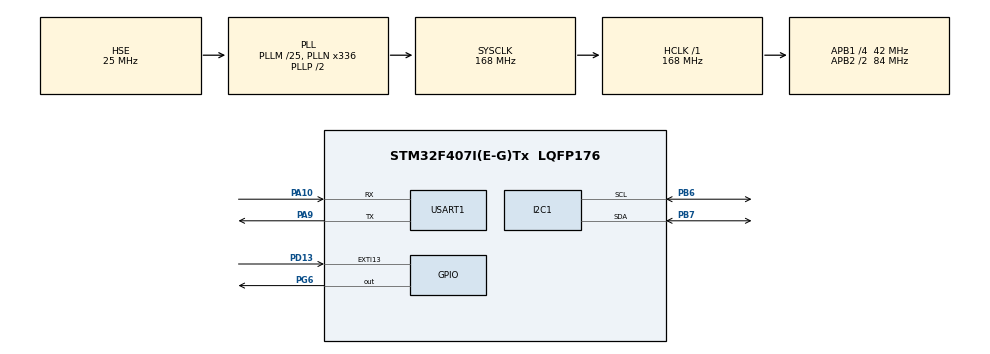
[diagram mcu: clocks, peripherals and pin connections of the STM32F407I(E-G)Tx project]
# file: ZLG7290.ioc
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I2C1.DualAddressMode=I2C_DUALADDRESS_DISABLED
I2C1.GeneralCallMode=I2C_GENERALCALL_ENABLED
Mcu.Family=STM32F4
Mcu.Name=STM32F407I(E-G)Tx
Mcu.Package=LQFP176
NVIC.EXTI15_10_IRQn=true\:0\:0\:false
NVIC.PriorityGroup=NVIC_PRIORITYGROUP_4
NVIC.USART1_IRQn=true\:0\:0\:false
PA10.Mode=Asynchronous
PA10.Signal=USART1_RX
PA9.Mode=Asynchronous
PA9.Signal=USART1_TX
PB6.Mode=I2C
PB6.Signal=I2C1_SCL
PB7.Mode=I2C
PB7.Signal=I2C1_SDA
PD13.GPIO_ModeDefaultEXTI=GPIO_MODE_IT_FALLING
PD13.GPIO_PuPd=GPIO_NOPULL
PD13.Signal=GPXTI13
PG6.Signal=GPIO_Output
PH0-OSC_IN.Mode=HSE-External-Oscillator
PH0-OSC_IN.Signal=RCC_OSC_IN
PH1-OSC_OUT.Mode=HSE-External-Oscillator
PH1-OSC_OUT.Signal=RCC_OSC_OUT
ProjectManager.HeapSize=0x200
ProjectManager.StackSize=0x400
ProjectManager.TargetToolchain=MDK-ARM V5
RCC.48MHZClocksFreq_Value=84000000
RCC.AHBFreq_Value=168000000
RCC.APB1CLKDivider=RCC_HCLK_DIV4
RCC.APB1Freq_Value=42000000
RCC.APB1TimFreq_Value=84000000
RCC.APB2CLKDivider=RCC_HCLK_DIV2
RCC.APB2Freq_Value=84000000
RCC.APB2TimFreq_Value=168000000
RCC.CortexFreq_Value=168000000
RCC.HCLKFreq_Value=168000000
RCC.HSE_VALUE=25000000
RCC.HSI_VALUE=16000000
RCC.LSE_VALUE=32768
RCC.PLLM=25
RCC.PLLN=336
RCC.PLLSourceVirtual=RCC_PLLSOURCE_HSE
RCC.SYSCLKFreq_VALUE=168000000
RCC.SYSCLKSource=RCC_SYSCLKSOURCE_PLLCLK
RCC.VCOOutputFreq_Value=336000000
USART1.VirtualMode=VM_ASYNC
board=ZLG7290

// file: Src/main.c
/**
 ******************************************************************************
 * File Name          : main.c
 * Description        : Main program body
 ******************************************************************************
 *
 * COPYRIGHT(c) 2024 STMicroelectronics
 *
 * Redistribution and use in source and binary forms, with or without modification,
 * are permitted provided that the following conditions are met:
 *   1. Redistributions of source code must retain the above copyright notice,
 *      this list of conditions and the following disclaimer.
 *   2. Redistributions in binary form must reproduce the above copyright notice,
 *      this list of conditions and the following disclaimer in the documentation
 *      and/or other materials provided with the distribution.
 *   3. Neither the name of STMicroelectronics nor the names of its contributors
 *      may be used to endorse or promote products derived from this software
 *      without specific prior written permission.
 *
 * THIS SOFTWARE IS PROVIDED BY THE COPYRIGHT HOLDERS AND CONTRIBUTORS "AS IS"
 * AND ANY EXPRESS OR IMPLIED WARRANTIES, INCLUDING, BUT NOT LIMITED TO, THE
 * IMPLIED WARRANTIES OF MERCHANTABILITY AND FITNESS FOR A PARTICULAR PURPOSE ARE
 * DISCLAIMED. IN NO EVENT SHALL THE COPYRIGHT HOLDER OR CONTRIBUTORS BE LIABLE
 * FOR ANY DIRECT, INDIRECT, INCIDENTAL, SPECIAL, EXEMPLARY, OR CONSEQUENTIAL
 * DAMAGES (INCLUDING, BUT NOT LIMITED TO, PROCUREMENT OF SUBSTITUTE GOODS OR
 * SERVICES; LOSS OF USE, DATA, OR PROFITS; OR BUSINESS INTERRUPTION) HOWEVER
 * CAUSED AND ON ANY THEORY OF LIABILITY, WHETHER IN CONTRACT, STRICT LIABILITY,
 * OR TORT (INCLUDING NEGLIGENCE OR OTHERWISE) ARISING IN ANY WAY OUT OF THE USE
 * OF THIS SOFTWARE, EVEN IF ADVISED OF THE POSSIBILITY OF SUCH DAMAGE.
 *
 ******************************************************************************
 */
#include "stm32f4xx_hal.h"
#include "i2c.h"
#include "usart.h"
#include "gpio.h"
#include "stm32f4xx_hal_iwdg.h"
/* USER CODE BEGIN Includes */
#include "zlg7290.h"
#include "stdio.h"
/* USER CODE END Includes */

/* USER CODE BEGIN PV */
/* Private variables ---------------------------------------------------------*/
#define UINT8_CHECK 0xFF
#define UINT32_CHECK 0xFFFFFFFF
#define ZLG_WRITE_ADDRESS 0x10
#define INF 99999999
#define RESET() HAL_NVIC_SystemReset()
#define Random_Delay(x) HAL_Delay(rand() % x)
#define IWDG_FEED() HAL_IWDG_Refresh(&IWDG_Handler)
#define Calc_update() variable_backup_update(&calc_bkp1, &calc_bkp2, &calc_bkp3, calc)
#define Len_update() variable_backup_update(&len_bkp1, &len_bkp2, &len_bkp3, len)
#define Flag2_update() variable_backup_update(&flag2_bkp1, &flag2_bkp2, &flag2_bkp3, flag2)
// 0~D对应0~D, EF分别为 * 和 #
uint8_t input2sign[0x1D] = {0x10, 0xd, 0xf, 0x0, 0xe, 0x10, 0x10, 0x10, 0x10, 0xc, 0x9, 0x8, 0x7, 0x10, 0x10, 0x10, 0x10, 0xb, 0x6, 0x5, 0x4, 0x10, 0x10, 0x10, 0x10, 0xa, 0x3, 0x2, 0x1};
// 输出对应字节 0123456789
uint8_t output_char[0xa] = {0xFC, 0x0C, 0xDA, 0xF2, 0x66, 0xB6, 0xBE, 0xE0, 0xFE, 0xE6};

uint32_t input_int[2] = {0};
uint8_t len = 0, calc = 0;
uint8_t flag2 = 0;
uint8_t Rx_Buffer[8] = {0};

struct backup_32
{
	uint32_t data[2];
	uint32_t checksum;
};

struct backup_8
{
	uint8_t data[1];
	uint8_t checksum;
};

struct backup_8_arr
{
	uint8_t data[8];
	uint8_t checksum;
};

__attribute__((section(".uninit"), zero_init)) uint8_t input2sign_bkp1[0x1D];
__attribute__((section(".uninit"), zero_init)) uint8_t input2sign_bkp1_checksum;
__attribute__((section(".uninit"), zero_init)) uint8_t output_char_bkp1[0xa];
__attribute__((section(".uninit"), zero_init)) uint8_t output_char_bkp1_checksum;
__attribute__((section(".uninit"), zero_init)) struct backup_32 input_int_bkp1;
__attribute__((section(".uninit"), zero_init)) struct backup_8 len_bkp1;
__attribute__((section(".uninit"), zero_init)) struct backup_8 calc_bkp1;
__attribute__((section(".uninit"), zero_init)) struct backup_8 flag2_bkp1;
__attribute__((section(".uninit"), zero_init)) struct backup_8_arr Rx_Buffer_bkp1;

__attribute__((section(".uninit"), zero_init)) uint8_t input2sign_bkp2[0x1D];
__attribute__((section(".uninit"), zero_init)) uint8_t input2sign_bkp2_checksum;
__attribute__((section(".uninit"), zero_init)) uint8_t output_char_bkp2[0xa];
__attribute__((section(".uninit"), zero_init)) uint8_t output_char_bkp2_checksum;
__attribute__((section(".uninit"), zero_init)) struct backup_32 input_int_bkp2;
__attribute__((section(".uninit"), zero_init)) struct backup_8 len_bkp2;
__attribute__((section(".uninit"), zero_init)) struct backup_8 calc_bkp2;
__attribute__((section(".uninit"), zero_init)) struct backup_8 flag2_bkp2;
__attribute__((section(".uninit"), zero_init)) struct backup_8_arr Rx_Buffer_bkp2;

__attribute__((section(".uninit"), zero_init)) uint8_t input2sign_bkp3[0x1D];
__attribute__((section(".uninit"), zero_init)) uint8_t input2sign_bkp3_checksum;
__attribute__((section(".uninit"), zero_init)) uint8_t output_char_bkp3[0xa];
__attribute__((section(".uninit"), zero_init)) uint8_t output_char_bkp3_checksum;
__attribute__((section(".uninit"), zero_init)) struct backup_32 input_int_bkp3;
__attribute__((section(".uninit"), zero_init)) struct backup_8 len_bkp3;
__attribute__((section(".uninit"), zero_init)) struct backup_8 calc_bkp3;
__attribute__((section(".uninit"), zero_init)) struct backup_8 flag2_bkp3;
__attribute__((section(".uninit"), zero_init)) struct backup_8_arr Rx_Buffer_bkp3;

__attribute__((section(".uninit"), zero_init)) uint32_t sign;

uint8_t flag1 = 0, order = 0;
uint32_t last_input_time = 0, last_free_time = 0;

// uint8_t len __attribute__(());

IWDG_HandleTypeDef IWDG_Handler;
/* USER CODE END PV */

void SystemClock_Config(void);

/* USER CODE BEGIN PFP */
/* Private function prototypes -----------------------------------------------*/

/* USER CODE END PFP */

/* USER CODE BEGIN 0 */
uint8_t Safe_Read(void);
void Receive_Number(uint8_t input);
void Clear_Display(void);
void Receive_Calculating(uint8_t input);
void Result_Handle(void);
void IWDG_Init(uint8_t prer, uint16_t rlr);
uint8_t check_uint8_array(uint8_t *arr, uint8_t len, uint8_t checksum, uint8_t type);
uint32_t check_uint32_array(uint32_t *arr, uint32_t checksum, uint8_t type);
void static_backup_init();
void backup_init();
void uint8_array_copy(uint8_t *dest, uint8_t *src, uint8_t len);
void uint32_array_copy(uint32_t *dest, uint32_t *src, uint8_t len);
void variable_backup_update(struct backup_8 *bkp1, struct backup_8 *bkp2, struct backup_8 *bkp3, uint8_t data);
void Rx_update();
void input_int_update();
void generate_random_uint8_array(uint8_t *arr, uint8_t len);
void uint8_array_backup_check(uint8_t flag);
void uint8_backup_check(struct backup_8 *bkp1, struct backup_8 *bkp2, struct backup_8 *bkp3, uint8_t flag);
void input_int_backup_update();
void backup_check();
/* USER CODE END 0 */

int main(void)
{

	/* MCU Configuration----------------------------------------------------------*/

	/* Reset of all peripherals, Initializes the Flash interface and the Systick. */
	HAL_Init();

	/* Configure the system clock */
	SystemClock_Config();
	IWDG_Init(1, 3000);
	/* Initialize all configured peripherals */
	MX_GPIO_Init();
	SystemClock_Config();
	MX_I2C1_Init();
	MX_USART1_UART_Init();

	/* USER CODE BEGIN 2 */
	uint8_t input;
	if (sign == 302141191) // 热启动
	{
		backup_check();
		sign = 302141191;
	}
	else // 冷启动
	{
		HAL_Delay(200);
		static_backup_init();
		backup_init();
		sign = 302141191;
	}
	/* USER CODE END 2 */
	/* Infinite loop */
	while (1)
	{
		/* USER CODE BEGIN 3 */
		if (flag1 == 1)
		{
			// for(i=0;i<8;i++){
			// HAL_GPIO_WritePin(GPIOG,GPIO_PIN_6,GPIO_PIN_SET);
			// HAL_Delay(4);
			// HAL_GPIO_WritePin(GPIOG,GPIO_PIN_6,GPIO_PIN_RESET);
			// HAL_Delay(4);
			//}
			IWDG_FEED();
			flag1 = 0;
			input = Safe_Read();
			last_input_time = HAL_GetTick();
			if (last_input_time - last_free_time > 10000) // 连续输入10s以上，重启
			{
				sign = 0;
				RESET();
			}
			Random_Delay(10);

			if (input > 0x1C || input == 0x0) // 输入不合法
				continue;
			input = input2sign[input]; // 转换为符号
			Random_Delay(10);
			if (input == 0x10)
				continue;
			// printf("%#x\t", input);

			if (input == 0xf || flag2 >= 2) // 接受到清除键或者运算完成
				Clear_Display();
			else if (input <= 0x9) // 接受到数字
				Receive_Number(input);
			else if (input < 0xe) // 接受到运算符
				Receive_Calculating(input);
			else
				Result_Handle();
		}
		else
		{
			last_free_time = HAL_GetTick();
			uint32_t time_diff = last_free_time - last_input_time;

			if (time_diff == 10000)
				Clear_Display();
			if (time_diff % 400 == 0) // 400ms刷新一次数码管并喂狗
			{
				IWDG_FEED();
				backup_check();
				I2C_ZLG7290_Write(&hi2c1, 0x70, ZLG_WRITE_ADDRESS, Rx_Buffer, 8);
			}
			HAL_PWR_EnterSLEEPMode(PWR_LOWPOWERREGULATOR_ON, PWR_SLEEPENTRY_WFI);
		}
	}
}
/* USER CODE END 3 */

/** System Clock Configuration
 */
void SystemClock_Config(void)
{

	RCC_OscInitTypeDef RCC_OscInitStruct;
	RCC_ClkInitTypeDef RCC_ClkInitStruct;

	__PWR_CLK_ENABLE();

	__HAL_PWR_VOLTAGESCALING_CONFIG(PWR_REGULATOR_VOLTAGE_SCALE1);

	RCC_OscInitStruct.OscillatorType = RCC_OSCILLATORTYPE_HSE;
	RCC_OscInitStruct.HSEState = RCC_HSE_ON;
	RCC_OscInitStruct.PLL.PLLState = RCC_PLL_ON;
	RCC_OscInitStruct.PLL.PLLSource = RCC_PLLSOURCE_HSE;
	RCC_OscInitStruct.PLL.PLLM = 25;
	RCC_OscInitStruct.PLL.PLLN = 336;
	RCC_OscInitStruct.PLL.PLLP = RCC_PLLP_DIV2;
	RCC_OscInitStruct.PLL.PLLQ = 4;
	HAL_RCC_OscConfig(&RCC_OscInitStruct);

	RCC_ClkInitStruct.ClockType = RCC_CLOCKTYPE_SYSCLK | RCC_CLOCKTYPE_PCLK1 | RCC_CLOCKTYPE_PCLK2;
	RCC_ClkInitStruct.SYSCLKSource = RCC_SYSCLKSOURCE_PLLCLK;
	RCC_ClkInitStruct.AHBCLKDivider = RCC_SYSCLK_DIV1;
	RCC_ClkInitStruct.APB1CLKDivider = RCC_HCLK_DIV4;
	RCC_ClkInitStruct.APB2CLKDivider = RCC_HCLK_DIV2;
	HAL_RCC_ClockConfig(&RCC_ClkInitStruct, FLASH_LATENCY_5);

	HAL_SYSTICK_Config(HAL_RCC_GetHCLKFreq() / 1000);

	HAL_SYSTICK_CLKSourceConfig(SYSTICK_CLKSOURCE_HCLK);

	/* SysTick_IRQn interrupt configuration */
	HAL_NVIC_SetPriority(SysTick_IRQn, 0, 0);
}

/* USER CODE BEGIN 4 */
// 安全读取
uint8_t Safe_Read()
{
	if (!order)
		RESET();
	uint8_t tmp1 = 0, tmp2 = 0, tmp3 = 0;
	I2C_ZLG7290_Read(&hi2c1, 0x71, 0x01, &tmp1, 1);
	I2C_ZLG7290_Read(&hi2c1, 0x71, 0x01, &tmp2, 1);
	I2C_ZLG7290_Read(&hi2c1, 0x71, 0x01, &tmp3, 1);
	if (tmp1 == tmp2 || tmp2 == tmp3 || tmp1 == tmp3)
	{
		order = 1;
		if (tmp1 == tmp2)
			return tmp1;
		return tmp3;
	}
	return 0;
}
// 状态还原
void Clear_Display()
{
	input_int[0] = input_int[1] = 0;
	flag2 = 0;
	len = 0;
	order = 0;
	memset(Rx_Buffer, 0, 8);
	backup_init();
	I2C_ZLG7290_Write(&hi2c1, 0x70, ZLG_WRITE_ADDRESS, Rx_Buffer, 8); // 清除显示
}
// 接收到数字
void Receive_Number(uint8_t input)
{
	if (order != 1)
		RESET();
	if (len < 8 && flag2 < 2) // 输入未满
	{
		input_int[flag2] = (input_int[flag2] << 3) + (input_int[flag2] << 1) + input; // 保存数字
		input = output_char[input];
		Rx_Buffer[len] = input;
		len += 1;
		Random_Delay(5);
		I2C_ZLG7290_Write(&hi2c1, 0x70, ZLG_WRITE_ADDRESS + len, Rx_Buffer, len);
		input_int_update();
		Rx_update();
		Len_update();
	}
	order = 0;
}
// 接收到运算符
void Receive_Calculating(uint8_t input)
{
	if (order != 1)
		RESET();
	if (flag2 == 0) // 接受到运算符且参数未满
	{
		calc = input; // 保存运算符
		Calc_update();
		memset(Rx_Buffer, 0, 8);
		Rx_update();
		I2C_ZLG7290_Write(&hi2c1, 0x70, ZLG_WRITE_ADDRESS, Rx_Buffer, 8);
		Random_Delay(5);
		len = 0;
		flag2 = 1;
		Len_update();
		Flag2_update();
	}
	order = 0;
}
// 结果处理
void Result_Handle()
{
	if (order != 1)
		RESET();
	if (flag2 == 1) // 运算符和参数已满
	{
		flag2 = 2;
		Flag2_update();
		uint32_t result1, result2;
		switch (calc)
		{
		case 0xa:
			result1 = input_int[0] + input_int[1]; // 加法
			result2 = input_int[0] + input_int[1];
			flag2 += input_int[0] <= INF; // 结果是否超出范围
			break;
		case 0xb:
			flag2 += input_int[0] >= input_int[1];
			result1 = input_int[0] - input_int[1]; // 减法
			result2 = input_int[0] - input_int[1];
			break;
		case 0xc:
			flag2 += INF / input_int[1] > input_int[0];
			result1 = input_int[0] * input_int[1]; // 乘法
			result2 = input_int[0] * input_int[1];
			break;
		case 0xd:
			flag2 += input_int[1] != 0;
			result1 = input_int[0] / input_int[1]; // 除法
			result2 = input_int[0] / input_int[1];
			break;
		}
		Flag2_update();
		Random_Delay(5);
		if (result1 != result2)
		{
			sign = 0;
			RESET();
		}
		if (flag2 == 3) // 结果合法
		{
			uint8_t i;
			len = 0;
			// 结果转化为字节
			for (i = 0; result != 0; i++)
			{
				Rx_Buffer[i] = output_char[result % 10];
				result /= 10;
				len++;
			}
			// 结果反转
			for (i = 0; i < len - i - 1; i++)
			{
				Rx_Buffer[i] ^= Rx_Buffer[len - i - 1];
				Rx_Buffer[len - i - 1] ^= Rx_Buffer[i];
				Rx_Buffer[i] ^= Rx_Buffer[len - i - 1];
			}
			Rx_update();
			I2C_ZLG7290_Write(&hi2c1, 0x70, ZLG_WRITE_ADDRESS, Rx_Buffer, 8);
		}
		else // 结果不合法
		{
			Clear_Display();
		}
	}
	order = 0;
}

void HAL_GPIO_EXTI_Callback(uint16_t GPIO_Pin)
{
	flag1 = 1;
}
int fputc(int ch, FILE *f)
{
	uint8_t tmp[1] = {0};
	tmp[0] = (uint8_t)ch;
	HAL_UART_Transmit(&huart1, tmp, 1, 10);
	return ch;
}
// 初始化看门狗
void IWDG_Init(uint8_t prer, uint16_t rlr)
{
	IWDG_Handler.Instance = IWDG;
	IWDG_Handler.Init.Prescaler = prer;
	IWDG_Handler.Init.Reload = rlr;
	HAL_IWDG_Init(&IWDG_Handler);
	HAL_IWDG_Start(&IWDG_Handler);
}
// 静态备份初始化
void static_backup_init()
{
	uint8_t i = rand() & 1;
	if (i == 0)
	{
		uint8_array_copy(input2sign_bkp1, input2sign, 0x1D);
		input2sign_bkp1_checksum = check_uint8_array(input2sign_bkp1, 0x1D, 0, 0);
		uint8_array_copy(input2sign_bkp2, input2sign, 0x1D);
		input2sign_bkp2_checksum = check_uint8_array(input2sign_bkp2, 0x1D, 0, 0);
		uint8_array_copy(input2sign_bkp3, input2sign, 0x1D);
		input2sign_bkp3_checksum = check_uint8_array(input2sign_bkp3, 0x1D, 0, 0);
	}
	else
	{
		uint8_array_copy(output_char_bkp1, output_char, 0xa);
		output_char_bkp1_checksum = check_uint8_array(output_char_bkp1, 0xa, 0, 0);
		uint8_array_copy(output_char_bkp2, output_char, 0xa);
		output_char_bkp2_checksum = check_uint8_array(output_char_bkp2, 0xa, 0, 0);
		uint8_array_copy(output_char_bkp3, output_char, 0xa);
		output_char_bkp3_checksum = check_uint8_array(output_char_bkp3, 0xa, 0, 0);
	}
}
// uint8_t备份更新
void variable_backup_update(struct backup_8 *bkp1, struct backup_8 *bkp2, struct backup_8 *bkp3, uint8_t data)
{
	uint8_t i, order[3];
	generate_random_uint8_array(order, 3);
	for (i = 0; i < 3; i++)
	{
		switch (order[i])
		{
		case 0:
			bkp1->data[0] = data;
			bkp1->checksum = check_uint8_array(bkp1->data, 1, 0, 0);
			break;
		case 1:
			bkp2->data[0] = data;
			bkp2->checksum = check_uint8_array(bkp2->data, 1, 0, 0);
			break;
		case 2:
			bkp3->data[0] = data;
			bkp3->checksum = check_uint8_array(bkp3->data, 1, 0, 0);
			break;
		}
	}
}
// Rx_Buffer更新
void Rx_update()
{
	uint8_array_copy(Rx_Buffer_bkp1.data, Rx_Buffer, 8);
	Rx_Buffer_bkp1.checksum = check_uint8_array(Rx_Buffer_bkp1.data, 8, 0, 0);
	uint8_array_copy(Rx_Buffer_bkp2.data, Rx_Buffer, 8);
	Rx_Buffer_bkp2.checksum = check_uint8_array(Rx_Buffer_bkp2.data, 8, 0, 0);
	uint8_array_copy(Rx_Buffer_bkp3.data, Rx_Buffer, 8);
	Rx_Buffer_bkp3.checksum = check_uint8_array(Rx_Buffer_bkp3.data, 8, 0, 0);
}
// input_int更新
void input_int_update()
{
	uint32_array_copy(input_int_bkp1.data, input_int, 2);
	input_int_bkp1.checksum = check_uint32_array(input_int_bkp1.data, 0, 0);
	uint32_array_copy(input_int_bkp2.data, input_int, 2);
	input_int_bkp2.checksum = check_uint32_array(input_int_bkp2.data, 0, 0);
	uint32_array_copy(input_int_bkp3.data, input_int, 2);
	input_int_bkp3.checksum = check_uint32_array(input_int_bkp3.data, 0, 0);
}
// 备份初始化
void backup_init()
{
	uint8_t i, order[5];
	generate_random_uint8_array(order, 5);
	for (i = 0; i < 5; i++)
	{
		switch (order[i])
		{
		case 0:
			Len_update();
			break;
		case 1:
			Calc_update();
			break;
		case 2:
			Flag2_update();
			break;
		case 3:
			Rx_update();
			break;
		case 4:
			input_int_update();
			break;
		}
	}
}
// 字节数组备份校验 0:input2sign  1:output_char  2:Rx_BUffer
void uint8_array_backup_check(uint8_t flag)
{
	uint8_t *bkp1, *bkp2, *bkp3, *right;
	uint8_t *checksum1, *checksum2, *checksum3, len;
	if (!flag)
	{
		bkp1 = input2sign_bkp1;
		bkp2 = input2sign_bkp2;
		bkp3 = input2sign_bkp3;
		len = 0x1D;
		checksum1 = &input2sign_bkp1_checksum;
		checksum2 = &input2sign_bkp2_checksum;
		checksum3 = &input2sign_bkp3_checksum;
	}
	else if (flag == 1)
	{
		bkp1 = output_char_bkp1;
		bkp2 = output_char_bkp2;
		bkp3 = output_char_bkp3;
		len = 0xa;
		checksum1 = &output_char_bkp1_checksum;
		checksum2 = &output_char_bkp2_checksum;
		checksum3 = &output_char_bkp3_checksum;
	}
	else
	{
		bkp1 = Rx_Buffer_bkp1.data;
		bkp2 = Rx_Buffer_bkp2.data;
		bkp3 = Rx_Buffer_bkp3.data;
		len = 8;
		checksum1 = &Rx_Buffer_bkp1.checksum;
		checksum2 = &Rx_Buffer_bkp2.checksum;
		checksum3 = &Rx_Buffer_bkp3.checksum;
	}
	uint8_t f1, f2, f3;
	f1 = check_uint8_array(bkp1, len, *checksum1, 1);
	f2 = check_uint8_array(bkp2, len, *checksum2, 1);
	f3 = check_uint8_array(bkp3, len, *checksum3, 1);
	if (!f1 && !f2 && !f3)
	{
		sign = 0;
		HAL_NVIC_SystemReset();
	}
	if (f1)
		right = bkp1;
	else if (f2)
	{
		right = bkp2;
		bkp2 = bkp1;
		checksum2 = checksum1;
	}
	else
	{
		right = bkp3;
		bkp3 = bkp1;
		checksum3 = checksum1;
	}
	uint8_array_copy(bkp2, right, len);
	*checksum2 = check_uint8_array(bkp2, len, 0, 0);
	uint8_array_copy(bkp3, right, len);
	*checksum3 = check_uint8_array(bkp3, len, 0, 0);
	switch (flag)
	{
	case 0:
		uint8_array_copy(input2sign, right, len);
		break;
	case 1:
		uint8_array_copy(output_char, right, len);
		break;
	case 2:
		uint8_array_copy(Rx_Buffer, right, len);
		break;
	}
}
// 字节备份检验	0:len  1:calc  2:flag2
void uint8_backup_check(struct backup_8 *bkp1, struct backup_8 *bkp2, struct backup_8 *bkp3, uint8_t flag)
{
	struct backup_8 *right;
	uint8_t f1, f2, f3;
	f1 = check_uint8_array(bkp1->data, 1, bkp1->checksum, 1);
	f2 = check_uint8_array(bkp2->data, 1, bkp2->checksum, 1);
	f3 = check_uint8_array(bkp3->data, 1, bkp3->checksum, 1);
	if (!f1 && !f2 && !f3)
	{
		sign = 0;
		HAL_NVIC_SystemReset();
	}
	if (f1)
		right = bkp1;
	else if (f2)
	{
		right = bkp2;
		bkp2 = bkp1;
	}
	else
	{
		right = bkp3;
		bkp3 = bkp1;
	}
	bkp2->data[0] = right->data[0];
	bkp2->checksum = check_uint8_array(bkp2->data, 1, 0, 0);
	bkp3->data[0] = right->data[0];
	bkp3->checksum = check_uint8_array(bkp3->data, 1, 0, 0);
	switch (flag)
	{
	case 0:
		len = right->data[0];
		break;
	case 1:
		calc = right->data[0];
		break;
	case 2:
		flag2 = right->data[0];
		break;
	}
}
// input_int备份更新
void input_int_backup_update()
{
	uint8_t f1, f2, f3;
	f1 = check_uint32_array(input_int_bkp1.data, input_int_bkp1.checksum, 1);
	f2 = check_uint32_array(input_int_bkp2.data, input_int_bkp2.checksum, 1);
	f3 = check_uint32_array(input_int_bkp3.data, input_int_bkp3.checksum, 1);
	if (!f1 && !f2 && !f3)
	{
		sign = 0;
		HAL_NVIC_SystemReset();
	}
	if (f1)
	{
		uint32_array_copy(input_int_bkp2.data, input_int_bkp1.data, 2);
		input2sign_bkp2_checksum = check_uint32_array(input_int_bkp2.data, 0, 0);
		uint32_array_copy(input_int_bkp3.data, input_int_bkp1.data, 2);
		input2sign_bkp3_checksum = check_uint32_array(input_int_bkp3.data, 0, 0);
	}
	else if (f2)
	{
		uint32_array_copy(input_int_bkp1.data, input_int_bkp2.data, 2);
		input2sign_bkp1_checksum = check_uint32_array(input_int_bkp1.data, 0, 0);
		uint32_array_copy(input_int_bkp3.data, input_int_bkp2.data, 2);
		input2sign_bkp3_checksum = check_uint32_array(input_int_bkp3.data, 0, 0);
	}
	else
	{
		uint32_array_copy(input_int_bkp1.data, input_int_bkp3.data, 2);
		input2sign_bkp1_checksum = check_uint32_array(input_int_bkp1.data, 0, 0);
		uint32_array_copy(input_int_bkp2.data, input_int_bkp3.data, 2);
		input2sign_bkp2_checksum = check_uint32_array(input_int_bkp2.data, 0, 0);
	}
	uint32_array_copy(input_int, input_int_bkp1.data, 2);
}
// 备份检验
void backup_check()
{
	uint8_t order[7], i;
	generate_random_uint8_array(order, 7);
	for (i = 0; i < 7; i++)
	{
		switch (order[i])
		{
		case 0:
			uint8_array_backup_check(0);
			break;
		case 1:
			uint8_array_backup_check(1);
			break;
		case 2:
			uint8_array_backup_check(2);
			break;
		case 3:
			uint8_backup_check(&len_bkp1, &len_bkp2, &len_bkp3, 0);
			break;
		case 4:
			uint8_backup_check(&calc_bkp1, &calc_bkp2, &calc_bkp3, 1);
			break;
		case 5:
			uint8_backup_check(&flag2_bkp1, &flag2_bkp2, &flag2_bkp3, 2);
			break;
		case 6:
			input_int_backup_update();
			break;
		}
	}
}
// 校验字节数组		0:计算校验和 1:检验校验和
uint8_t check_uint8_array(uint8_t *arr, uint8_t len, uint8_t checksum, uint8_t type)
{
	uint8_t i;
	uint8_t sum = UINT8_CHECK;
	for (i = 0; i < len; i++)
	{
		sum ^= arr[i];
	}
	if (!type)
		return sum;
	return sum == checksum;
}
// 校验uint32数组	0:计算校验和 1:检验校验和	默认长度为2
uint32_t check_uint32_array(uint32_t *arr, uint32_t checksum, uint8_t type)
{
	uint8_t i;
	uint32_t sum = UINT32_CHECK;
	for (i = 0; i < 2; i++)
	{
		sum ^= arr[i];
	}
	if (!type)
		return sum;
	return sum == checksum;
}
// 字节数组拷贝
void uint8_array_copy(uint8_t *dest, uint8_t *src, uint8_t len)
{
	while (len--)
		dest[len] = src[len];
}
// uint32数组拷贝
void uint32_array_copy(uint32_t *dest, uint32_t *src, uint8_t len)
{
	while (len--)
		dest[len] = src[len];
}
// 生成随机序列
void generate_random_uint8_array(uint8_t *arr, uint8_t len)
{
	uint8_t i, j;
	for (i = 0; i < len; i++)
		arr[i] = i;
	for (i = 0; i < len; i++)
	{
		j = rand() % len;
		arr[i] ^= arr[j];
		arr[j] ^= arr[i];
		arr[i] ^= arr[j];
	}
}
/* USER CODE END 4 */

/************************ (C) COPYRIGHT STMicroelectronics *****END OF FILE****/
